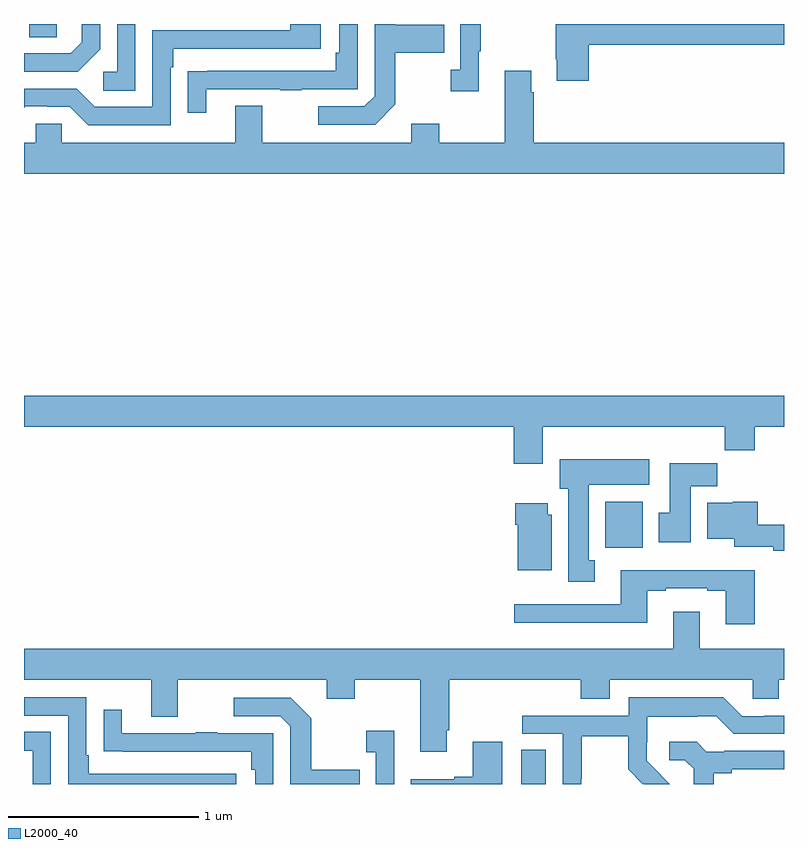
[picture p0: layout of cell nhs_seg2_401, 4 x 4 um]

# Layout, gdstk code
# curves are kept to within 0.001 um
import gdstk
lib = gdstk.Library(unit=1e-6, precision=1e-09)
def R(c, l, rs):  # rectangles x0, y0, x1, y1
    for r in rs: c.add(gdstk.rectangle(r[:2], r[2:], *l))
def P(c, l, *ps):  # polygons
    for p in ps: c.add(gdstk.Polygon(p, *l))
L2000_40 = (2000, 40)

nhs_seg2_401 = lib.new_cell('nhs_seg2_401')
R(nhs_seg2_401, L2000_40, [(133.616,601.8,133.747,601.979), (134.06,603.044,134.257,603.286), (131.027,605.731,131.172,605.8)])
P(nhs_seg2_401, L2000_40, [(133.973,605.692),(135,605.692),(135,605.8),(133.798,605.8),(133.798,605.614),(133.805,605.614),(133.805,605.502),(133.973,605.502)],
  [(131.959,605.457),(132.349,605.457),(132.349,605.452),(132.461,605.452),(132.461,605.457),(132.756,605.457),(132.756,605.8),(132.66,605.8),(132.66,605.65),(132.64,605.65),(132.64,605.553),(131.965,605.553),(131.965,605.552),(131.863,605.552),(131.863,605.334),(131.959,605.334)],
  [(131.4,605.666),(131.4,605.8),(131.303,605.8),(131.303,605.703),(131.246,605.646),(131,605.646),(131,605.55),(131.284,605.55)],
  [(133.393,605.657),(133.405,605.657),(133.405,605.8),(133.296,605.8),(133.296,605.558),(133.245,605.558),(133.245,605.445),(133.393,605.445)],
  [(132.955,605.377),(132.955,605.65),(133.211,605.65),(133.211,605.797),(132.955,605.797),(132.955,605.8),(132.846,605.8),(132.846,605.421),(132.792,605.367),(132.549,605.367),(132.549,605.271),(132.849,605.271)],
  [(131.772,605.573),(131.785,605.573),(131.785,605.67),(132.562,605.67),(132.562,605.8),(132.401,605.8),(132.401,605.766),(131.676,605.766),(131.676,605.364),(131.373,605.364),(131.277,605.46),(131,605.46),(131,605.36),(131.007,605.367),(131.123,605.367),(131.123,605.364),(131.241,605.364),(131.337,605.268),(131.772,605.268)],
  [(131.586,605.8),(131.49,605.8),(131.49,605.55),(131.418,605.55),(131.418,605.449),(131.586,605.449)],
  [(133.037,605.275),(133.037,605.176),(132.253,605.176),(132.253,605.371),(132.113,605.371),(132.113,605.176),(131.199,605.176),(131.199,605.274),(131.061,605.274),(131.061,605.176),(131,605.176),(131,605.012),(135,605.012),(135,605.176),(133.682,605.176),(133.682,605.441),(133.669,605.441),(133.669,605.554),(133.529,605.554),(133.529,605.176),(133.185,605.176),(133.185,605.275)],
  [(133.729,603.68),(134.689,603.68),(134.689,603.556),(134.846,603.556),(134.846,603.68),(135,603.68),(135,603.844),(131,603.844),(131,603.68),(133.577,603.68),(133.577,603.486),(133.729,603.486)],
  [(134.005,602.978),(133.972,602.978),(133.972,603.374),(134.29,603.374),(134.29,603.508),(133.82,603.508),(133.82,603.354),(133.865,603.354),(133.865,602.865),(134.005,602.865)],
  [(134.509,603.368),(134.648,603.368),(134.648,603.487),(134.399,603.487),(134.399,603.228),(134.342,603.228),(134.342,603.072),(134.509,603.072)],
  [(135,603.164),(134.861,603.164),(134.861,603.286),(134.73,603.286),(134.73,603.28),(134.597,603.28),(134.597,603.092),(134.738,603.092),(134.738,603.048),(134.944,603.048),(134.944,603.028),(135,603.028)],
  [(133.777,603.216),(133.756,603.216),(133.756,603.277),(133.586,603.277),(133.586,603.164),(133.598,603.164),(133.598,602.924),(133.777,602.924)],
  [(134.846,602.926),(134.141,602.926),(134.141,602.745),(133.581,602.745),(133.581,602.648),(134.281,602.648),(134.281,602.817),(134.377,602.817),(134.377,602.829),(134.597,602.829),(134.597,602.817),(134.693,602.817),(134.693,602.64),(134.846,602.64)],
  [(134.557,602.707),(134.417,602.707),(134.417,602.512),(131,602.512),(131,602.348),(131.669,602.348),(131.669,602.154),(131.809,602.154),(131.809,602.348),(132.593,602.348),(132.593,602.249),(132.741,602.249),(132.741,602.348),(133.085,602.348),(133.085,601.971),(133.225,601.971),(133.225,602.083),(133.238,602.083),(133.238,602.348),(133.931,602.348),(133.931,602.249),(134.083,602.249),(134.083,602.348),(134.835,602.348),(134.835,602.25),(134.973,602.25),(134.973,602.348),(135,602.348),(135,602.512),(134.557,602.512)],
  [(133.932,601.828),(133.935,601.828),(133.935,602.052),(134.179,602.052),(134.179,601.877),(134.256,601.8),(134.259,601.803),(134.262,601.8),(134.398,601.8),(134.278,601.922),(134.278,602.019),(134.28,602.019),(134.28,602.153),(134.543,602.153),(134.543,602.157),(134.643,602.157),(134.736,602.064),(135,602.064),(135,602.16),(134.897,602.16),(134.897,602.157),(134.781,602.157),(134.681,602.257),(134.184,602.257),(134.184,602.16),(133.623,602.16),(133.623,602.064),(133.836,602.064),(133.836,601.8),(133.932,601.8)],
  [(132.118,601.854),(131.341,601.854),(131.341,601.951),(131.328,601.951),(131.328,602.256),(131,602.256),(131,602.16),(131.232,602.16),(131.232,601.8),(132.118,601.8)],
  [(132.767,601.875),(132.511,601.875),(132.511,602.147),(132.405,602.253),(132.105,602.253),(132.105,602.157),(132.348,602.157),(132.402,602.103),(132.402,601.8),(132.767,601.8)],
  [(132.312,602.067),(132.017,602.067),(132.017,602.072),(131.905,602.072),(131.905,602.067),(131.515,602.067),(131.515,602.191),(131.419,602.191),(131.419,601.972),(131.521,601.972),(131.521,601.971),(132.196,601.971),(132.196,601.874),(132.216,601.874),(132.216,601.8),(132.312,601.8)],
  [(132.948,602.08),(132.801,602.08),(132.801,601.967),(132.852,601.967),(132.852,601.8),(132.948,601.8)],
  [(131.142,602.075),(131,602.075),(131,601.974),(131.046,601.974),(131.046,601.8),(131.142,601.8)],
  [(134.629,601.856),(134.725,601.856),(134.725,601.878),(135,601.878),(135,601.974),(134.686,601.974),(134.686,601.971),(134.592,601.971),(134.54,602.023),(134.397,602.023),(134.397,601.926),(134.478,601.926),(134.525,601.879),(134.525,601.8),(134.629,601.8)],
  [(133.516,602.023),(133.361,602.023),(133.361,601.838),(133.265,601.838),(133.265,601.825),(133.035,601.825),(133.035,601.8),(133.516,601.8)])

lib.write_gds('nhs_seg2_401.gds')
